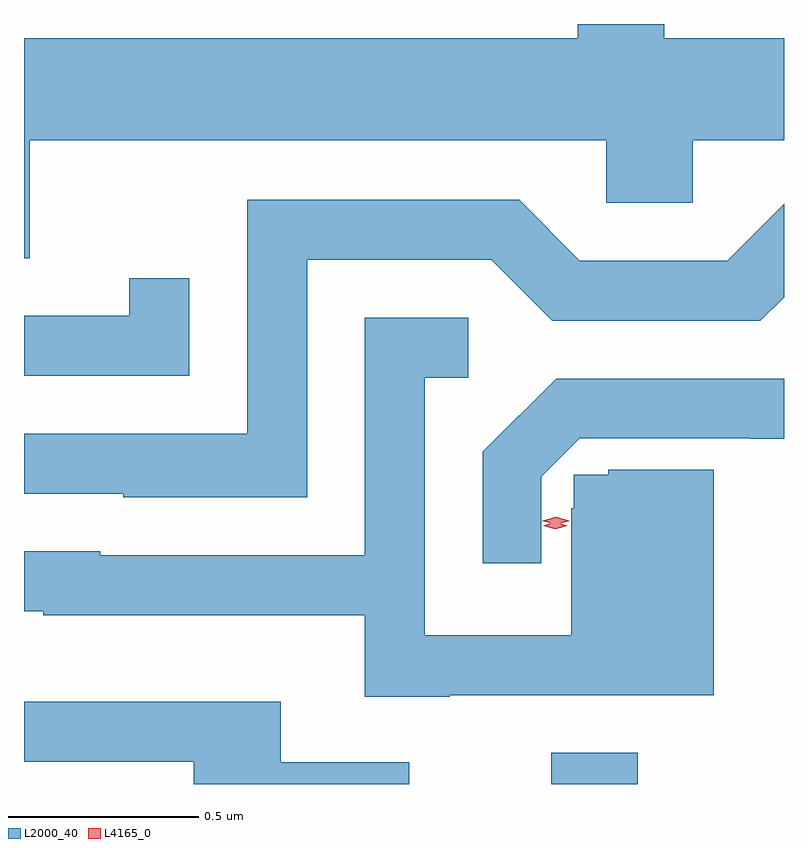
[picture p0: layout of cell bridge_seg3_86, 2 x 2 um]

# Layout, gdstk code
import gdstk
lib = gdstk.Library(unit=1e-6, precision=1e-09)
def R(c, l, rs):  # rectangles x0, y0, x1, y1
    for r in rs: c.add(gdstk.rectangle(r[:2], r[2:], *l))
def P(c, l, *ps):  # polygons
    for p in ps: c.add(gdstk.Polygon(p, *l))
L2000_40 = (2000, 40)
L4165_0 = (4165, 0)

bridge_seg3_86 = lib.new_cell('bridge_seg3_86')
R(bridge_seg3_86, L2000_40, [(1127.021,1179.822,1127.249,1179.904)])
P(bridge_seg3_86, L2000_40, [(1125.649,1181.516),(1127.166,1181.516),(1127.166,1181.351),(1127.394,1181.351),(1127.394,1181.516),(1127.634,1181.516),(1127.634,1181.784),(1127.319,1181.784),(1127.319,1181.822),(1127.091,1181.822),(1127.091,1181.784),(1125.634,1181.784),(1125.634,1181.206),(1125.649,1181.206)],
  [(1126.379,1181.201),(1126.864,1181.201),(1127.024,1181.041),(1127.572,1181.041),(1127.634,1181.103),(1127.634,1181.349),(1127.484,1181.199),(1127.097,1181.199),(1126.937,1181.359),(1126.221,1181.359),(1126.221,1180.744),(1125.634,1180.744),(1125.634,1180.586),(1125.895,1180.586),(1125.895,1180.576),(1126.379,1180.576)],
  [(1126.069,1181.153),(1125.911,1181.153),(1125.911,1181.054),(1125.634,1181.054),(1125.634,1180.896),(1126.069,1180.896)],
  [(1126.755,1180.056),(1127.449,1180.056),(1127.449,1180.649),(1127.171,1180.649),(1127.171,1180.636),(1127.081,1180.636),(1127.081,1180.548),(1127.074,1180.548),(1127.074,1180.214),(1126.689,1180.214),(1126.689,1180.891),(1126.803,1180.891),(1126.803,1181.049),(1126.531,1181.049),(1126.531,1180.424),(1125.835,1180.424),(1125.835,1180.434),(1125.634,1180.434),(1125.634,1180.276),(1125.685,1180.276),(1125.685,1180.266),(1126.531,1180.266),(1126.531,1180.051),(1126.755,1180.051)],
  [(1126.995,1180.63),(1127.097,1180.732),(1127.545,1180.732),(1127.545,1180.731),(1127.634,1180.731),(1127.634,1180.889),(1127.034,1180.889),(1126.841,1180.697),(1126.841,1180.403),(1126.995,1180.403)],
  [(1126.648,1179.879),(1126.309,1179.879),(1126.309,1180.039),(1125.634,1180.039),(1125.634,1179.881),(1126.081,1179.881),(1126.081,1179.822),(1126.648,1179.822)])
P(bridge_seg3_86, L4165_0, [(1127.032,1180.492),(1127.001,1180.502),(1127,1180.502),(1127.001,1180.502),(1127.032,1180.512),(1127.064,1180.502),(1127.064,1180.502),(1127.064,1180.501)],
  [(1127.034,1180.505),(1126.999,1180.514),(1126.998,1180.515),(1126.999,1180.515),(1127.034,1180.525),(1127.068,1180.515),(1127.069,1180.515),(1127.068,1180.514)])

lib.write_gds('bridge_seg3_86.gds')
